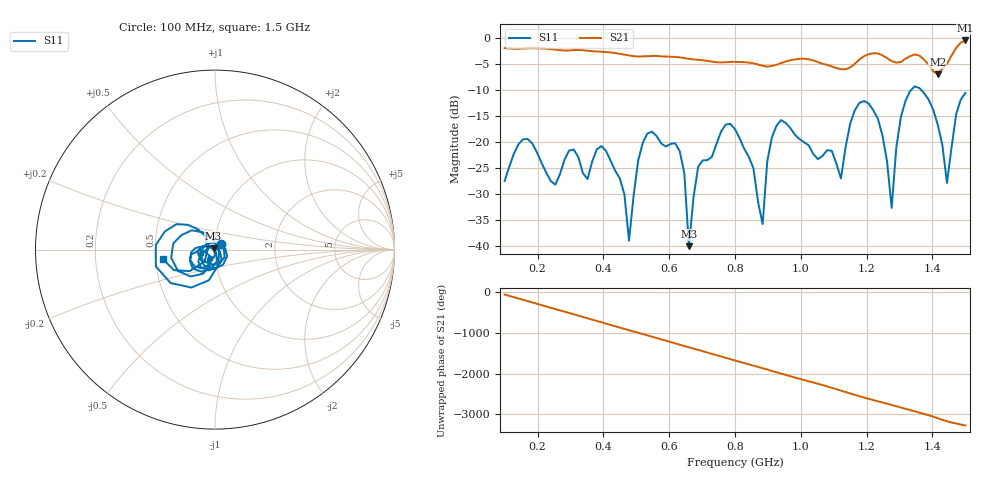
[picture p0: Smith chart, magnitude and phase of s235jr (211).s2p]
! NanoVNA-App
! Date: 2025-09-25 15:05:48
! Start: 100MHz Stop: 1,5GHz Points: 101
! S-Parameter data: F S11 S21 S12 S22
# Hz S RI R 50
!  Frequency  S11_Real  S11_Imag  S21_Real  S21_Imag  S12_Real  S12_Imag  S22_Real  S22_Imag
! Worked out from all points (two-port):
!   101 points, 100 MHz to 1.5 GHz, reference 50 ohm
!   highest |S21| = -0.49 dB at 1.5 GHz (marker M1); lowest = -6.9 dB at 1.416 GHz (marker M2)
!   |S21| within 3 dB of the highest: start of sweep to 491 MHz; 1.193 GHz to 1.252 GHz (59.25 MHz wide, 4.85 % of centre)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
!   lowest |S11| = -39.9 dB at 660 MHz (marker M3), VSWR 1.02, Z = 49.2 + j0.639 ohm
!   |S11| at or under -10 dB: start of sweep to 1.335 GHz; 1.366 GHz to end of sweep
!   S12 and S22 are empty: the file has one direction only
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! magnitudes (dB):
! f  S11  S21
! 100 MHz  -27.5  -2.0
! 156 MHz  -19.5  -2.0
! 338 MHz  -26.0  -2.4
! 408 MHz  -21.6  -2.7
! 478 MHz  -38.9  -3.4
! 520 MHz  -20.1  -3.5
! 576 MHz  -20.3  -3.5
! 632 MHz  -21.7  -3.7
! 660 MHz  -39.9  -4.0
! 688 MHz  -24.7  -4.2
! 800 MHz  -17.5  -4.6
! 884 MHz  -35.7  -5.4
! 926 MHz  -16.9  -5.2
! 1.038 GHz  -22.3  -4.3
! 1.122 GHz  -27.0  -6.0
! 1.206 GHz  -12.6  -3.1
! 1.276 GHz  -32.6  -4.5
! 1.304 GHz  -15.2  -4.6
! 1.332 GHz  -10.2  -3.5
! 1.416 GHz  -16.6  -6.9
! 1.444 GHz  -27.8  -5.0
! 1.5 GHz  -10.6  -0.5
